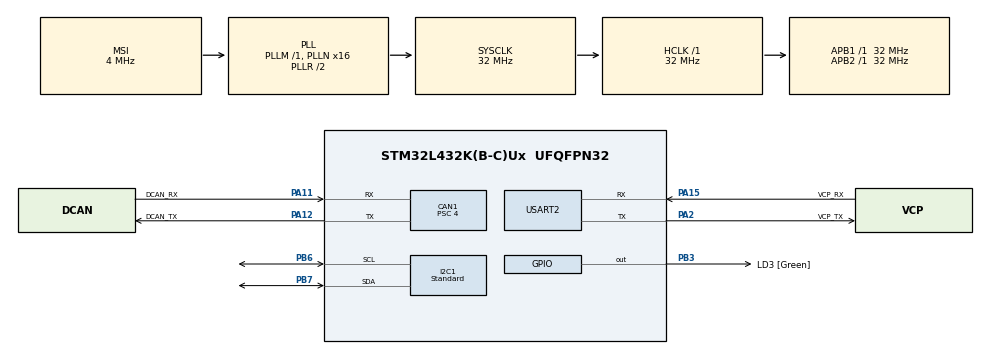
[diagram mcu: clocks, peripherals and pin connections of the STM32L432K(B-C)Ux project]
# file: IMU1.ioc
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CAN1.ABOM=ENABLE
CAN1.AutoBusOff=ENABLE
CAN1.BS1=CAN_BS1_9TQ
CAN1.BS2=CAN_BS2_6TQ
CAN1.CalculateTimeBit=375
CAN1.CalculateTimeQuantum=125.0
CAN1.Prescaler=4
CAN1.SJW=CAN_SJW_1TQ
CAN1.TimeSeg1=CAN_BS1_7TQ
CAN1.TimeSeg2=CAN_BS2_8TQ
I2C1.I2C_Speed_Mode=I2C_Standard
I2C1.Timing=0x00707CBB
Mcu.Family=STM32L4
Mcu.Name=STM32L432K(B-C)Ux
Mcu.Package=UFQFPN32
NVIC.PriorityGroup=NVIC_PRIORITYGROUP_4
PA0.GPIO_Label=MCO [High speed clock in]
PA0.Mode=HSE-External-Clock-Source-for-LittleOrca
PA0.Signal=RCC_CK_IN
PA11.GPIO_Label=DCAN_RX
PA11.GPIO_PuPd=GPIO_PULLUP
PA11.Mode=Master
PA11.Signal=CAN1_RX
PA12.GPIO_Label=DCAN_TX
PA12.GPIO_PuPd=GPIO_NOPULL
PA12.Mode=Master
PA12.Signal=CAN1_TX
PA13\ (JTMS-SWDIO).GPIO_Label=SWDIO
PA13\ (JTMS-SWDIO).Mode=Serial_Wire
PA13\ (JTMS-SWDIO).Signal=SYS_JTMS-SWDIO
PA14\ (JTCK-SWCLK).GPIO_Label=SWCLK
PA14\ (JTCK-SWCLK).Mode=Serial_Wire
PA14\ (JTCK-SWCLK).Signal=SYS_JTCK-SWCLK
PA15\ (JTDI).GPIO_Label=VCP_RX
PA15\ (JTDI).Mode=Asynchronous
PA15\ (JTDI).Signal=USART2_RX
PA2.GPIO_Label=VCP_TX
PA2.Mode=Asynchronous
PA2.Signal=USART2_TX
PA3.Signal=ADCx_IN8
PB3\ (JTDO-TRACESWO).GPIO_Label=LD3 [Green]
PB3\ (JTDO-TRACESWO).Signal=GPIO_Output
PB6.Mode=I2C
PB6.Signal=I2C1_SCL
PB7.Mode=I2C
PB7.Signal=I2C1_SDA
PC14-OSC32_IN\ (PC14).Mode=LSE-External-Oscillator
PC14-OSC32_IN\ (PC14).Signal=RCC_OSC32_IN
PC15-OSC32_OUT\ (PC15).Mode=LSE-External-Oscillator
PC15-OSC32_OUT\ (PC15).Signal=RCC_OSC32_OUT
ProjectManager.HeapSize=0x200
ProjectManager.StackSize=0x400
ProjectManager.TargetToolchain=SW4STM32
RCC.ADCFreq_Value=32000000
RCC.AHBFreq_Value=32000000
RCC.APB1Freq_Value=32000000
RCC.APB1TimFreq_Value=32000000
RCC.APB2Freq_Value=32000000
RCC.APB2TimFreq_Value=32000000
RCC.CortexFreq_Value=32000000
RCC.HCLKFreq_Value=32000000
RCC.HSE_VALUE=8000000
RCC.HSI16_VALUE=16000000
RCC.HSI48_VALUE=48000000
RCC.HSI_VALUE=16000000
RCC.MSI_VALUE=4000000
RCC.PLLMUL=RCC_PLLMUL_4
RCC.PLLN=16
RCC.PLLSAI1N=16
RCC.SYSCLKFreq_VALUE=32000000
RCC.SYSCLKSource=RCC_SYSCLKSOURCE_PLLCLK
RCC.USBFreq_Value=32000000
RCC.VCOOutputFreq_Value=64000000
SH.ADCx_IN8.0=ADC1_IN8
USART2.VirtualMode-Asynchronous=VM_ASYNC
board=NUCLEO-L432KC

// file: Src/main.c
/* USER CODE BEGIN Header */
/**
  ******************************************************************************
  * @file           : main.c
  * @brief          : Main program body
  ******************************************************************************
  * @attention
  *
  * <h2><center>&copy; Copyright (c) 2020 STMicroelectronics.
  * All rights reserved.</center></h2>
  *
  * This software component is licensed by ST under BSD 3-Clause license,
  * the "License"; You may not use this file except in compliance with the
  * License. You may obtain a copy of the License at:
  *                        opensource.org/licenses/BSD-3-Clause
  *
  ******************************************************************************
  */
/* USER CODE END Header */

#include "main.h"
#include "psched.h"
#include "psched.c"

/* USER CODE BEGIN Includes */

#include "daq.h"
void getData();
void sendData();
void errorHandler();
/* USER CODE END Includes */

CAN_HandleTypeDef hcan1;

I2C_HandleTypeDef hi2c1;

UART_HandleTypeDef huart2;

/* USER CODE BEGIN PV */

DAQ_TypeDef daq;

/* Private variables ---------------------------------------------------------*/

/* USER CODE END PV */

void SystemClock_Config(void);
static void MX_GPIO_Init(void);
static void MX_USART2_UART_Init(void);
static void MX_I2C1_Init(void);
static void MX_CAN1_Init(void);
/* USER CODE BEGIN PFP */
/* Private function prototypes -----------------------------------------------*/

/* USER CODE END PFP */

/* USER CODE BEGIN 0 */

/* Definitions for defaultTask */

#ifdef DEBUG

float x_a_out, y_a_out, z_a_out, x_g_out, y_g_out, z_g_out;

#define FROM_LIL_16(msb, lsb) (msb << 8 | lsb)

void update_global_vals()
{
  IMU_t * imu = &(daq.imu);
  ImuSensor * accel = &(imu->accelerometer);
  ImuSensor * gyro = &(imu->gyro);

  x_a_out = (float)((int16_t) FROM_LIL_16(accel->x.high, accel->x.low))
            * accel->conversion;
  y_a_out = (float)((int16_t) FROM_LIL_16(accel->y.high, accel->x.low))
            * accel->conversion;
  z_a_out = (float)((int16_t) FROM_LIL_16(accel->z.high, accel->z.low))
            * accel->conversion;

  x_g_out = (float)((int16_t) FROM_LIL_16(gyro->x.high, gyro->x.low))
            * gyro->conversion;
  y_g_out = (float)((int16_t) FROM_LIL_16(gyro->y.high, gyro->y.low))
            * gyro->conversion;
  z_g_out = (float)((int16_t) FROM_LIL_16(gyro->z.high, gyro->z.low))
            * gyro->conversion;
}
#endif

/* USER CODE END 0 */

int main(void)
{

  /* MCU Configuration--------------------------------------------------------*/

  /* Reset of all peripherals, Initializes the Flash interface and the Systick. */
  HAL_Init();

  /* Configure the system clock */
  SystemClock_Config();

  /* Initialize all configured peripherals */
  MX_GPIO_Init();
  MX_USART2_UART_Init();
  MX_I2C1_Init();
  MX_CAN1_Init();
  /* USER CODE BEGIN 2 */
  // TODO: Figure out error modes
//  if the devices were not intitialized properly, then loop and blink led forever
  if (daqInit(&hi2c1, &hcan1, &daq) != DAQ_OK)
  {
    //Error_Handler();
  }

  initCompleteFlash();
  schedInit(32000000);
  taskCreate(getData,1000);
  taskCreate(sendData,1000);
  schedStart();

  /* USER CODE END 2 */

  /* Infinite loop */
  /* USER CODE BEGIN WHILE */
  while (1)
  {

	  }

#ifdef DEBUG
	  update_global_vals();
#endif
  }

  /* USER CODE END 3 */

void SystemClock_Config(void)
{
  RCC_OscInitTypeDef RCC_OscInitStruct = {0};
  RCC_ClkInitTypeDef RCC_ClkInitStruct = {0};
  RCC_PeriphCLKInitTypeDef PeriphClkInit = {0};

  /** Configure LSE Drive Capability
  */
  HAL_PWR_EnableBkUpAccess();
  __HAL_RCC_LSEDRIVE_CONFIG(RCC_LSEDRIVE_LOW);
  /** Initializes the CPU, AHB and APB busses clocks
  */
  RCC_OscInitStruct.OscillatorType = RCC_OSCILLATORTYPE_LSE|RCC_OSCILLATORTYPE_MSI;
  RCC_OscInitStruct.LSEState = RCC_LSE_ON;
  RCC_OscInitStruct.MSIState = RCC_MSI_ON;
  RCC_OscInitStruct.MSICalibrationValue = 0;
  RCC_OscInitStruct.MSIClockRange = RCC_MSIRANGE_6;
  RCC_OscInitStruct.PLL.PLLState = RCC_PLL_ON;
  RCC_OscInitStruct.PLL.PLLSource = RCC_PLLSOURCE_MSI;
  RCC_OscInitStruct.PLL.PLLM = 1;
  RCC_OscInitStruct.PLL.PLLN = 16;
  RCC_OscInitStruct.PLL.PLLP = RCC_PLLP_DIV7;
  RCC_OscInitStruct.PLL.PLLQ = RCC_PLLQ_DIV2;
  RCC_OscInitStruct.PLL.PLLR = RCC_PLLR_DIV2;
  if (HAL_RCC_OscConfig(&RCC_OscInitStruct) != HAL_OK)
  {
    //Error_Handler();
  }
  /** Initializes the CPU, AHB and APB busses clocks
  */
  RCC_ClkInitStruct.ClockType = RCC_CLOCKTYPE_HCLK|RCC_CLOCKTYPE_SYSCLK
                              |RCC_CLOCKTYPE_PCLK1|RCC_CLOCKTYPE_PCLK2;
  RCC_ClkInitStruct.SYSCLKSource = RCC_SYSCLKSOURCE_PLLCLK;
  RCC_ClkInitStruct.AHBCLKDivider = RCC_SYSCLK_DIV1;
  RCC_ClkInitStruct.APB1CLKDivider = RCC_HCLK_DIV1;
  RCC_ClkInitStruct.APB2CLKDivider = RCC_HCLK_DIV1;

  if (HAL_RCC_ClockConfig(&RCC_ClkInitStruct, FLASH_LATENCY_1) != HAL_OK)
  {
    //Error_Handler();
  }
  PeriphClkInit.PeriphClockSelection = RCC_PERIPHCLK_USART2|RCC_PERIPHCLK_I2C1;
  PeriphClkInit.Usart2ClockSelection = RCC_USART2CLKSOURCE_PCLK1;
  PeriphClkInit.I2c1ClockSelection = RCC_I2C1CLKSOURCE_PCLK1;
  if (HAL_RCCEx_PeriphCLKConfig(&PeriphClkInit) != HAL_OK)
  {
    //Error_Handler();
  }
  /** Configure the main internal regulator output voltage
  */
  if (HAL_PWREx_ControlVoltageScaling(PWR_REGULATOR_VOLTAGE_SCALE1) != HAL_OK)
  {
    //Error_Handler();
  }
  /** Enable MSI Auto calibration
  */
  HAL_RCCEx_EnableMSIPLLMode();
}

static void MX_CAN1_Init(void)
{

  hcan1.Instance = CAN1;
  hcan1.Init.Prescaler = 4;
  hcan1.Init.Mode = CAN_MODE_NORMAL;
  hcan1.Init.SyncJumpWidth = CAN_SJW_1TQ;
  hcan1.Init.TimeSeg1 = CAN_BS1_9TQ;
  hcan1.Init.TimeSeg2 = CAN_BS2_6TQ;
  hcan1.Init.TimeTriggeredMode = DISABLE;
  hcan1.Init.AutoBusOff = ENABLE;
  hcan1.Init.AutoWakeUp = DISABLE;
  hcan1.Init.AutoRetransmission = DISABLE;
  hcan1.Init.ReceiveFifoLocked = DISABLE;
  hcan1.Init.TransmitFifoPriority = DISABLE;
  if (HAL_CAN_Init(&hcan1) != HAL_OK)
  {
    //Error_Handler();
  }

}

static void MX_I2C1_Init(void)
{

  hi2c1.Instance = I2C1;
  hi2c1.Init.Timing = 0x00707CBB;
  hi2c1.Init.OwnAddress1 = 0;
  hi2c1.Init.AddressingMode = I2C_ADDRESSINGMODE_7BIT;
  hi2c1.Init.DualAddressMode = I2C_DUALADDRESS_DISABLE;
  hi2c1.Init.OwnAddress2 = 0;
  hi2c1.Init.OwnAddress2Masks = I2C_OA2_NOMASK;
  hi2c1.Init.GeneralCallMode = I2C_GENERALCALL_DISABLE;
  hi2c1.Init.NoStretchMode = I2C_NOSTRETCH_DISABLE;
  if (HAL_I2C_Init(&hi2c1) != HAL_OK)
  {
    //Error_Handler();
  }
  /** Configure Analogue filter
  */
  if (HAL_I2CEx_ConfigAnalogFilter(&hi2c1, I2C_ANALOGFILTER_ENABLE) != HAL_OK)
  {
    //Error_Handler();
  }
  /** Configure Digital filter
  */
  if (HAL_I2CEx_ConfigDigitalFilter(&hi2c1, 0) != HAL_OK)
  {
    //Error_Handler();
  }

}

static void MX_USART2_UART_Init(void)
{

  huart2.Instance = USART2;
  huart2.Init.BaudRate = 115200;
  huart2.Init.WordLength = UART_WORDLENGTH_8B;
  huart2.Init.StopBits = UART_STOPBITS_1;
  huart2.Init.Parity = UART_PARITY_NONE;
  huart2.Init.Mode = UART_MODE_TX_RX;
  huart2.Init.HwFlowCtl = UART_HWCONTROL_NONE;
  huart2.Init.OverSampling = UART_OVERSAMPLING_16;
  huart2.Init.OneBitSampling = UART_ONE_BIT_SAMPLE_DISABLE;
  huart2.AdvancedInit.AdvFeatureInit = UART_ADVFEATURE_NO_INIT;
  if (HAL_UART_Init(&huart2) != HAL_OK)
  {
    //Error_Handler();
  }

}

static void MX_GPIO_Init(void)
{
  GPIO_InitTypeDef GPIO_InitStruct = {0};

  /* GPIO Ports Clock Enable */
  __HAL_RCC_GPIOC_CLK_ENABLE();
  __HAL_RCC_GPIOA_CLK_ENABLE();
  __HAL_RCC_GPIOB_CLK_ENABLE();

  /*Configure GPIO pin Output Level */
  HAL_GPIO_WritePin(LD3_GPIO_Port, LD3_Pin, GPIO_PIN_RESET);

  /*Configure GPIO pin : PA3 */
  GPIO_InitStruct.Pin = GPIO_PIN_3;
  GPIO_InitStruct.Mode = GPIO_MODE_ANALOG_ADC_CONTROL;
  GPIO_InitStruct.Pull = GPIO_NOPULL;
  HAL_GPIO_Init(GPIOA, &GPIO_InitStruct);

  /*Configure GPIO pin : LD3_Pin */
  GPIO_InitStruct.Pin = LD3_Pin;
  GPIO_InitStruct.Mode = GPIO_MODE_OUTPUT_PP;
  GPIO_InitStruct.Pull = GPIO_NOPULL;
  GPIO_InitStruct.Speed = GPIO_SPEED_FREQ_LOW;
  HAL_GPIO_Init(LD3_GPIO_Port, &GPIO_InitStruct);

}

void getData(void)
{
	if (daqReadData(&daq) != DAQ_OK)
	{
		taskDelete(0,0);
		taskDelete(0,0);
		schedInit(32000000);
		taskCreate(errorHandler, 500);
		schedStart();
	}
}

void sendData(void)
{
	for (IMU_Data_TypeDef i = 0; i < IMU_TYPE_MAX; i++)
	{
		if (daqSendImuData(&daq, i) != DAQ_OK)
		{
			taskDelete(0,0);
			taskDelete(0,0);
			taskCreate(errorHandler, 500);
			schedStart();
		}
	}
}

void errorHandler(void)
{
	HAL_GPIO_TogglePin(LD3_GPIO_Port, LD3_Pin);

}

/************************ (C) COPYRIGHT STMicroelectronics *****END OF FILE****/
